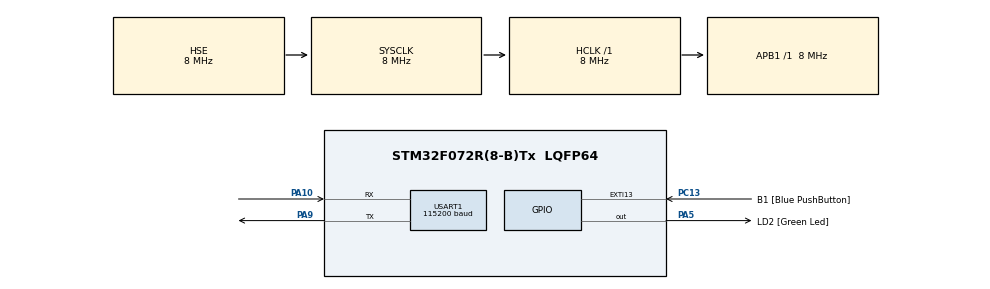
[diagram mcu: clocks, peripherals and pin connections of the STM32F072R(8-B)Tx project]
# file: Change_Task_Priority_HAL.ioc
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FREERTOS.Tasks01=myTask01,3,128,Task1_Handler,Default,NULL,Dynamic,NULL,NULL;myTask02,2,128,Task2_Handler,Default,NULL,Dynamic,NULL,NULL
Mcu.Family=STM32F0
Mcu.Name=STM32F072R(8-B)Tx
Mcu.Package=LQFP64
NVIC.EXTI4_15_IRQn=true\:3\:0\:false\:false\:true\:true\:true\:true\:true
PA10.Mode=Asynchronous
PA10.Signal=USART1_RX
PA13.GPIO_Label=TMS
PA13.Mode=Serial_Wire
PA13.Signal=SYS_SWDIO
PA14.GPIO_Label=TCK
PA14.Mode=Serial_Wire
PA14.Signal=SYS_SWCLK
PA5.GPIO_Label=LD2 [Green Led]
PA5.GPIO_Mode=GPIO_MODE_OUTPUT_PP
PA5.GPIO_PuPd=GPIO_NOPULL
PA5.GPIO_Speed=GPIO_SPEED_FREQ_LOW
PA5.Signal=GPIO_Output
PA9.Mode=Asynchronous
PA9.Signal=USART1_TX
PC13.GPIO_Label=B1 [Blue PushButton]
PC13.GPIO_ModeDefaultEXTI=GPIO_MODE_IT_FALLING
PC13.Signal=GPXTI13
PC14-OSC32_IN.Signal=RCC_OSC32_IN
PC15-OSC32_OUT.Signal=RCC_OSC32_OUT
PF0-OSC_IN.Mode=HSE-External-Oscillator
PF0-OSC_IN.Signal=RCC_OSC_IN
PF1-OSC_OUT.Mode=HSE-External-Oscillator
PF1-OSC_OUT.Signal=RCC_OSC_OUT
ProjectManager.HeapSize=0x200
ProjectManager.StackSize=0x400
ProjectManager.TargetToolchain=STM32CubeIDE
RCC.AHBFreq_Value=8000000
RCC.APB1Freq_Value=8000000
RCC.APB1TimFreq_Value=8000000
RCC.FLatency-AdvancedSettings=FLASH_LATENCY_0
RCC.HCLKFreq_Value=8000000
RCC.PLLDivider=RCC_PREDIV_DIV2
RCC.PLLMUL=RCC_PLL_MUL12
RCC.PREFETCH_ENABLE-AdvancedSettings=1
RCC.SYSCLKFreq_VALUE=8000000
RCC.SYSCLKSource=RCC_SYSCLKSOURCE_HSE
USART1.BaudRate=115200
USART1.VirtualMode-Asynchronous=VM_ASYNC
VP_FREERTOS_VS_CMSIS_V1.Mode=CMSIS_V1
board=NUCLEO-F072RB

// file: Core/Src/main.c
/* USER CODE BEGIN Header */
/**
  ******************************************************************************
  * @file           : main.c
  * @brief          : Main program body
  ******************************************************************************
  * @attention
  *
  * Copyright (c) 2024 STMicroelectronics.
  * All rights reserved.
  *
  * This software is licensed under terms that can be found in the LICENSE file
  * in the root directory of this software component.
  * If no LICENSE file comes with this software, it is provided AS-IS.
  *
  ******************************************************************************
  */
/* USER CODE END Header */
#include "main.h"
#include "cmsis_os.h"

/* USER CODE BEGIN Includes */
#include "string.h"
#include "stdio.h"
/* USER CODE END Includes */

UART_HandleTypeDef huart1;

osThreadId myTask01Handle;
osThreadId myTask02Handle;
/* USER CODE BEGIN PV */

uint8_t myMessage[50]={0};

uint8_t buttonState=0;

/* USER CODE END PV */

void SystemClock_Config(void);
static void MX_GPIO_Init(void);
static void MX_USART1_UART_Init(void);
void Task1_Handler(void const * argument);
void Task2_Handler(void const * argument);

int main(void)
{

  /* MCU Configuration--------------------------------------------------------*/

  /* Reset of all peripherals, Initializes the Flash interface and the Systick. */
  HAL_Init();

  /* Configure the system clock */
  SystemClock_Config();

  /* Initialize all configured peripherals */
  MX_GPIO_Init();
  MX_USART1_UART_Init();

  /* Create the thread(s) */
  /* definition and creation of myTask01 */
  osThreadDef(myTask01, Task1_Handler, osPriorityRealtime, 0, 128);
  myTask01Handle = osThreadCreate(osThread(myTask01), NULL);

  /* definition and creation of myTask02 */
  osThreadDef(myTask02, Task2_Handler, osPriorityHigh, 0, 128);
  myTask02Handle = osThreadCreate(osThread(myTask02), NULL);

  /* Start scheduler */
  osKernelStart();
  /* We should never get here as control is now taken by the scheduler */
  /* Infinite loop */
  while (1)
  {

  }
}

void SystemClock_Config(void)
{
  RCC_OscInitTypeDef RCC_OscInitStruct = {0};
  RCC_ClkInitTypeDef RCC_ClkInitStruct = {0};
  RCC_PeriphCLKInitTypeDef PeriphClkInit = {0};

  /** Initializes the RCC Oscillators according to the specified parameters
  * in the RCC_OscInitTypeDef structure.
  */
  RCC_OscInitStruct.OscillatorType = RCC_OSCILLATORTYPE_HSE;
  RCC_OscInitStruct.HSEState = RCC_HSE_ON;
  RCC_OscInitStruct.PLL.PLLState = RCC_PLL_NONE;
  if (HAL_RCC_OscConfig(&RCC_OscInitStruct) != HAL_OK)
  {
    Error_Handler();
  }

  /** Initializes the CPU, AHB and APB buses clocks
  */
  RCC_ClkInitStruct.ClockType = RCC_CLOCKTYPE_HCLK|RCC_CLOCKTYPE_SYSCLK
                              |RCC_CLOCKTYPE_PCLK1;
  RCC_ClkInitStruct.SYSCLKSource = RCC_SYSCLKSOURCE_HSE;
  RCC_ClkInitStruct.AHBCLKDivider = RCC_SYSCLK_DIV1;
  RCC_ClkInitStruct.APB1CLKDivider = RCC_HCLK_DIV1;

  if (HAL_RCC_ClockConfig(&RCC_ClkInitStruct, FLASH_LATENCY_0) != HAL_OK)
  {
    Error_Handler();
  }
  PeriphClkInit.PeriphClockSelection = RCC_PERIPHCLK_USART1;
  PeriphClkInit.Usart1ClockSelection = RCC_USART1CLKSOURCE_PCLK1;
  if (HAL_RCCEx_PeriphCLKConfig(&PeriphClkInit) != HAL_OK)
  {
    Error_Handler();
  }
}

static void MX_USART1_UART_Init(void)
{

  huart1.Instance = USART1;
  huart1.Init.BaudRate = 115200;
  huart1.Init.WordLength = UART_WORDLENGTH_8B;
  huart1.Init.StopBits = UART_STOPBITS_1;
  huart1.Init.Parity = UART_PARITY_NONE;
  huart1.Init.Mode = UART_MODE_TX_RX;
  huart1.Init.HwFlowCtl = UART_HWCONTROL_NONE;
  huart1.Init.OverSampling = UART_OVERSAMPLING_16;
  huart1.Init.OneBitSampling = UART_ONE_BIT_SAMPLE_DISABLE;
  huart1.AdvancedInit.AdvFeatureInit = UART_ADVFEATURE_NO_INIT;
  if (HAL_UART_Init(&huart1) != HAL_OK)
  {
    Error_Handler();
  }

}

static void MX_GPIO_Init(void)
{
  GPIO_InitTypeDef GPIO_InitStruct = {0};

  /* GPIO Ports Clock Enable */
  __HAL_RCC_GPIOC_CLK_ENABLE();
  __HAL_RCC_GPIOF_CLK_ENABLE();
  __HAL_RCC_GPIOA_CLK_ENABLE();

  /*Configure GPIO pin Output Level */
  HAL_GPIO_WritePin(LD2_GPIO_Port, LD2_Pin, GPIO_PIN_RESET);

  /*Configure GPIO pin : B1_Pin */
  GPIO_InitStruct.Pin = B1_Pin;
  GPIO_InitStruct.Mode = GPIO_MODE_IT_FALLING;
  GPIO_InitStruct.Pull = GPIO_NOPULL;
  HAL_GPIO_Init(B1_GPIO_Port, &GPIO_InitStruct);

  /*Configure GPIO pin : LD2_Pin */
  GPIO_InitStruct.Pin = LD2_Pin;
  GPIO_InitStruct.Mode = GPIO_MODE_OUTPUT_PP;
  GPIO_InitStruct.Pull = GPIO_NOPULL;
  GPIO_InitStruct.Speed = GPIO_SPEED_FREQ_LOW;
  HAL_GPIO_Init(LD2_GPIO_Port, &GPIO_InitStruct);

  /* EXTI interrupt init*/
  HAL_NVIC_SetPriority(EXTI4_15_IRQn, 3, 0);
  HAL_NVIC_EnableIRQ(EXTI4_15_IRQn);

}

void Task1_Handler(void const * argument)
{
  /* USER CODE BEGIN 5 */
  /* Infinite loop */

	osPriority p1,p2;

	sprintf((char*)myMessage,"Task1 is running...\r\n");
	HAL_UART_Transmit(&huart1, myMessage, sizeof(myMessage), 1000);

	sprintf((char*)myMessage,"Task1 Priority: %d",osThreadGetPriority(myTask01Handle));
	HAL_UART_Transmit(&huart1, myMessage, sizeof(myMessage), 1000);
	sprintf((char*)myMessage,"Task2 Priority: %d",osThreadGetPriority(myTask02Handle));
	HAL_UART_Transmit(&huart1, myMessage, sizeof(myMessage), 1000);

  for(;;)
  {
		sprintf((char*)myMessage,"Task1 is running...\r\n");
		HAL_UART_Transmit(&huart1, myMessage, sizeof(myMessage), 1000);

	  if(buttonState == 1)
	  {
		  buttonState = 0;

		  p1 = osThreadGetPriority(myTask01Handle);
		  p2 = osThreadGetPriority(myTask02Handle) ;

		  osThreadSetPriority(myTask01Handle, p2);
		  osThreadSetPriority(myTask02Handle, p1);
	  }

  }
  /* USER CODE END 5 */
}

void Task2_Handler(void const * argument)
{
  /* USER CODE BEGIN Task2_Handler */
  /* Infinite loop */

	osPriority p1,p2;

	sprintf((char*)myMessage,"Task2 is running...\r\n");
	HAL_UART_Transmit(&huart1, myMessage, sizeof(myMessage), 1000);

	sprintf((char*)myMessage,"Task1 Priority: %d",osThreadGetPriority(myTask01Handle));
	HAL_UART_Transmit(&huart1, myMessage, sizeof(myMessage), 1000);
	sprintf((char*)myMessage,"Task2 Priority: %d",osThreadGetPriority(myTask02Handle));
	HAL_UART_Transmit(&huart1, myMessage, sizeof(myMessage), 1000);

  for(;;)
  {

		sprintf((char*)myMessage,"Task2 is running...\r\n");
		HAL_UART_Transmit(&huart1, myMessage, sizeof(myMessage), 1000);

	  if(buttonState == 1)
	  {
		  buttonState = 0;

		  p1 = osThreadGetPriority(myTask01Handle);
		  p2 = osThreadGetPriority(myTask02Handle) ;

		  osThreadSetPriority(myTask01Handle, p2);
		  osThreadSetPriority(myTask02Handle, p1);
	  }

  }
  /* USER CODE END Task2_Handler */
}

void Error_Handler(void)
{
  __disable_irq();
  while (1)
  {
  }
}
